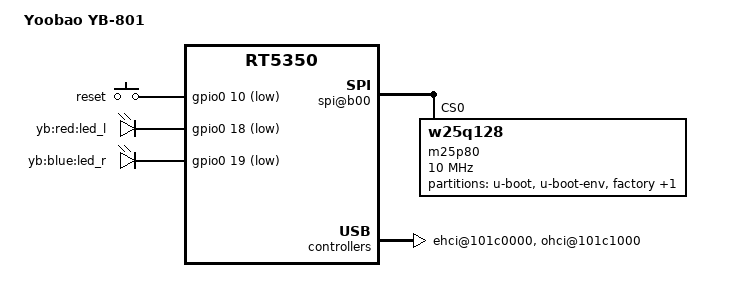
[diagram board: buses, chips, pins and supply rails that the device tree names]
/dts-v1/;

/include/ "rt5350.dtsi"

/ {
	compatible = "YB-801", "ralink,rt5350-soc";
	model = "Yoobao YB-801";

	palmbus@10000000 {
		spi@b00 {
			status = "okay";

			m25p80@0 {
				#address-cells = <1>;
				#size-cells = <1>;
				#compatible = "mx25l6405d";
				compatible = "w25q128";
				reg = <0 0>;
				linux,modalias = "m25p80", "w25q128";
				spi-max-frequency = <10000000>;

				partition@0 {
					label = "u-boot";
					reg = <0x0 0x30000>;
				};

				partition@30000 {
					label = "u-boot-env";
					reg = <0x30000 0x10000>;
				};

				factory: partition@40000 {
					label = "factory";
					reg = <0x40000 0x10000>;
				};

				partition@50000 {
					label = "firmware";
					reg = <0x50000 0x7b0000>;
				};
			};
		};
	};

	pinctrl {
		state_default: pinctrl0 {
			gpio {
				ralink,group = "i2c", "jtag", "uartf";
				ralink,function = "gpio";
			};
		};
	};

	gpio-keys-polled {
		compatible = "gpio-keys-polled";
		#address-cells = <1>;
		#size-cells = <0>;
		poll-interval = <20>;

		reset {
			label = "reset";
			gpios = <&gpio0 10 1>;
			linux,code = <0x198>;
		};
	};

	gpio-leds {
		compatible = "gpio-leds";

		led_l {
			label = "yb:red:led_l";
			gpios = <&gpio0 18 1>;
		};

		led_r {
			label = "yb:blue:led_r";
			gpios = <&gpio0 19 1>;
		};
	};

	ethernet@10100000 {
		mtd-mac-address = <&factory 0x4>;
	};

	esw@10110000 {
		mediatek,portmap = <0x2f>;
	};

	wmac@10180000 {
		ralink,mtd-eeprom = <&factory 0>;
	};

	ehci@101c0000 {
		status = "okay";
	};

	ohci@101c1000 {
		status = "okay";
	};
};
